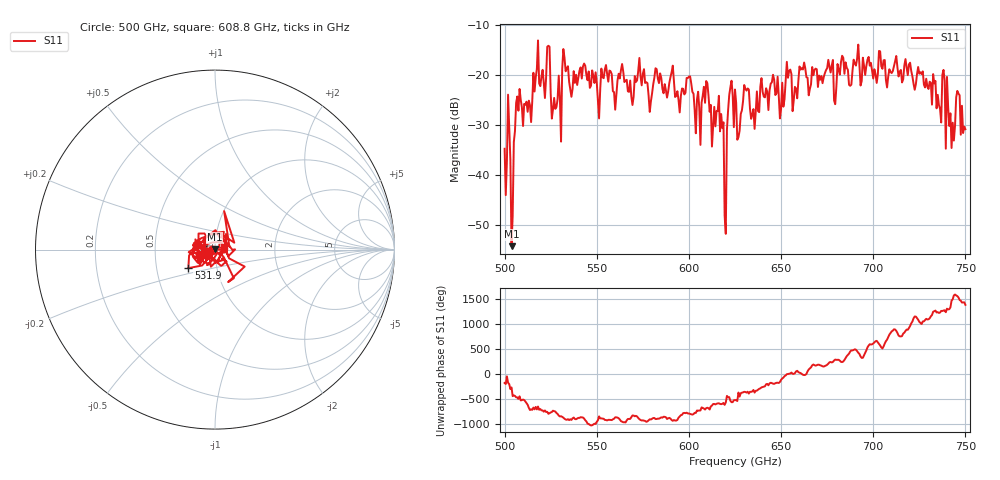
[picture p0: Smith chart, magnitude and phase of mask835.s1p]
!Created with skrf (http://scikit-rf.org).
# GHz S MA R 50.0
!freq magS11 angS11
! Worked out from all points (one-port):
!   401 points, 500 GHz to 750 GHz, reference 50 ohm
!   lowest |S11| = -54.3 dB at 503.8 GHz (marker M1), VSWR 1.00, Z = 50 + j0.191 ohm
!   |S11| at or under -10 dB: start of sweep to end of sweep
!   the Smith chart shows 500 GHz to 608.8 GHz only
!   S11 on the Smith chart (normalised r, x): 500 GHz: 0.96, -0.00; 531.9 GHz: 0.73, -0.16; 608.8 GHz: 1.11, +0.03
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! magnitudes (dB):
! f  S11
! 500 GHz  -34.8
! 501.9 GHz  -24.0
! 503.8 GHz  -54.3
! 507.5 GHz  -27.2
! 513.8 GHz  -26.1
! 516.9 GHz  -20.6
! 523.8 GHz  -14.2
! 526.9 GHz  -24.6
! 531.2 GHz  -18.8
! 531.9 GHz  -14.9
! 562.5 GHz  -20.7
! 579.4 GHz  -25.3
! 590.6 GHz  -19.5
! 593.8 GHz  -23.3
! 600 GHz  -20.4
! 605 GHz  -23.4
! 608.8 GHz  -25.6
! 617.5 GHz  -27.9
! 619.4 GHz  -48.2
! 622.5 GHz  -22.5
! 625 GHz  -23.0
! 656.2 GHz  -27.3
! 687.5 GHz  -22.2
! 718.8 GHz  -20.1
! 738.8 GHz  -21.2
! 742.5 GHz  -34.7
! 745.6 GHz  -23.2
! 750 GHz  -30.9
